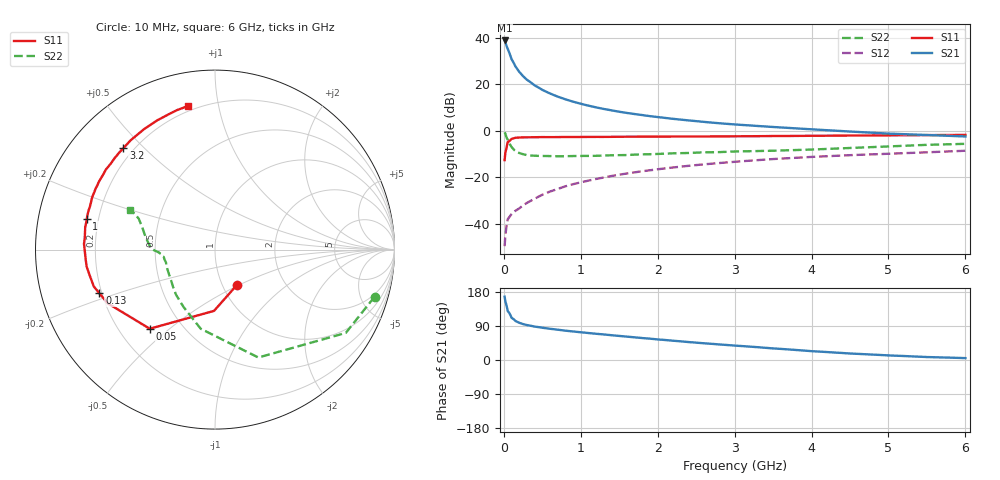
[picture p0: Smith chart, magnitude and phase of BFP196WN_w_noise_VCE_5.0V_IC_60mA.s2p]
! Infineon Technologies  Discrete & RF Semiconductors
! BFP196WN
! VCE =  5.0 V,  IC =  60 mA
! Common Emitter S-Parameters:  Jan 2017
# GHz  S  MA  R  50
!  f  S11  S21  S12  S22
! GHz  MAG  ANG  MAG  ANG  MAG  ANG  MAG  ANG
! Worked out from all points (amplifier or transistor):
!   77 points, 10 MHz to 6 GHz, reference 50 ohm
!   highest |S21| = 38.8 dB at 10 MHz (marker M1)
!   |S21| within 3 dB of that: start of sweep to 42.86 MHz
!   unconditionally stable (mu >= 1): 599.4 MHz to 2.681 GHz
!   at 130 MHz: K = 0.59, MSG = 32.0 dB, |S12| = -35.0 dB
!   at 2.2 GHz: K = 1.02, MAG = 9.7 dB, |S12| = -15.8 dB
!   at 6 GHz: K = 0.91, MSG = 3.1 dB, |S12| = -8.6 dB
!   lowest NFmin = 1.38 dB at 450 MHz
!   S11 on the Smith chart (normalised r, x): 10 MHz: 1.16, -0.49; 50 MHz: 0.33, -0.43; 130 MHz: 0.19, -0.18; 1 GHz: 0.15, +0.12; 3.2 GHz: 0.16, +0.44; 6 GHz: 0.17, +0.82
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0.01  0.2329 -58.9  87.26 167.1  0.0033 78.6  0.9269 -16.5
0.02  0.3414 -90.9  79.61 154.3  0.0057 73.7  0.864 -32.5
0.05  0.5713 -129.5  57.67 129.3  0.0124 52.5  0.6479 -68.1
0.1  0.6688 -153.4  34.58 111.3  0.0161 51.0  0.4482 -100.2
0.13  0.6887 -159.3  28.31 107.1  0.0178 51.1  0.3933 -110.3
0.15  0.7059 -163.1  24.26 103.1  0.019 51.1  0.3651 -118.6
0.2  0.7132 -168.6  18.47 98.2  0.0214 55.1  0.3324 -130.7
0.25  0.7212 -172.4  14.91 94.8  0.0248 57.7  0.3128 -138.3
0.3  0.7224 -175.2  12.48 92.2  0.0281 60.4  0.2991 -144.8
0.4  0.7255 -179.4  9.44 88.1  0.0344 64.6  0.29 -152.5
0.5  0.7306 177.5  7.568 85.1  0.042 66.7  0.2869 -158.0
0.6  0.7285 174.8  6.325 82.4  0.0493 67.8  0.2854 -162.0
0.8  0.7341 170.1  4.743 77.4  0.0639 69.5  0.2833 -166.4
1  0.735 166.4  3.803 73.2  0.0778 69.2  0.2871 -169.9
1.1  0.7363 164.7  3.461 71.2  0.0848 69.2  0.2879 -171.1
1.5  0.7423 157.7  2.561 63.5  0.1135 67.3  0.2984 -174.9
2.1  0.7493 148.3  1.885 52.7  0.1553 63.4  0.3219 -177.9
3.1  0.7603 133.4  1.332 36.7  0.2211 55.2  0.3608 177.5
3.2  0.7619 132.0  1.299 35.3  0.2273 54.3  0.3634 176.8
4.1  0.7803 119.1  1.05 22.2  0.2784 46.6  0.4002 168.0
5.1  0.7978 108.4  0.856 11.3  0.3246 38.9  0.4671 157.4
6  0.8142 100.5  0.753 5.0  0.3713 32.9  0.523 155.1
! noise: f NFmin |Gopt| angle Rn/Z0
0.45  1.38  0.55  -177  0.05
0.9  1.49  0.57  -169  0.06
1.9  2.42  0.69  -147  0.18
2.4  3.19  0.7  -139  0.3
